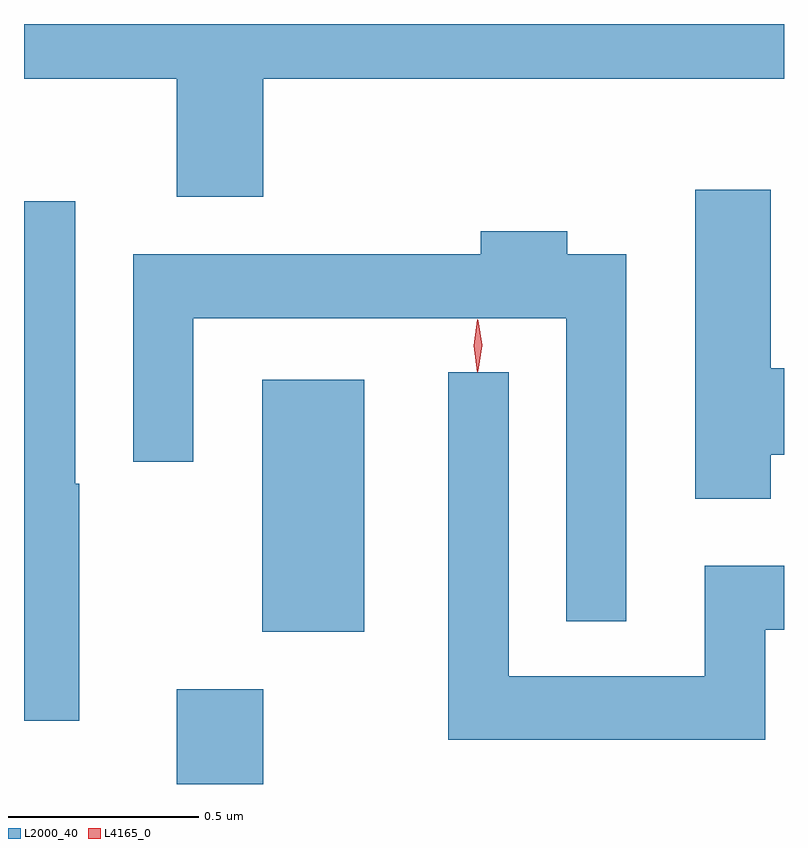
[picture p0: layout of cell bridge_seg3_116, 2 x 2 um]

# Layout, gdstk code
import gdstk
lib = gdstk.Library(unit=1e-6, precision=1e-09)
def R(c, l, rs):  # rectangles x0, y0, x1, y1
    for r in rs: c.add(gdstk.rectangle(r[:2], r[2:], *l))
def P(c, l, *ps):  # polygons
    for p in ps: c.add(gdstk.Polygon(p, *l))
L2000_40 = (2000, 40)
L4165_0 = (4165, 0)

bridge_seg3_116 = lib.new_cell('bridge_seg3_116')
R(bridge_seg3_116, L2000_40, [(1030.151,1248.48,1030.379,1248.729), (1030.376,1248.881,1030.644,1249.544)])
P(bridge_seg3_116, L2000_40, [(1030.379,1250.336),(1031.749,1250.336),(1031.749,1250.48),(1029.749,1250.48),(1029.749,1250.336),(1030.151,1250.336),(1030.151,1250.026),(1030.379,1250.026)],
  [(1031.714,1249.346),(1031.749,1249.346),(1031.749,1249.574),(1031.714,1249.574),(1031.714,1250.044),(1031.516,1250.044),(1031.516,1249.231),(1031.714,1249.231)],
  [(1029.894,1249.27),(1029.884,1249.27),(1029.884,1250.013),(1029.749,1250.013),(1029.749,1248.646),(1029.894,1248.646)],
  [(1031.334,1249.874),(1031.179,1249.874),(1031.179,1249.934),(1030.951,1249.934),(1030.951,1249.874),(1030.036,1249.874),(1030.036,1249.328),(1030.194,1249.328),(1030.194,1249.706),(1031.176,1249.706),(1031.176,1248.908),(1031.334,1248.908)],
  [(1031.699,1248.886),(1031.749,1248.886),(1031.749,1249.054),(1031.541,1249.054),(1031.541,1248.764),(1031.024,1248.764),(1031.024,1249.563),(1030.866,1249.563),(1030.866,1248.596),(1031.699,1248.596)])
P(bridge_seg3_116, L4165_0, [(1030.942,1249.563),(1030.942,1249.564),(1030.932,1249.633),(1030.942,1249.702),(1030.942,1249.703),(1030.943,1249.702),(1030.952,1249.633),(1030.943,1249.564)],
  [(1030.945,1249.567),(1030.944,1249.568),(1030.935,1249.634),(1030.944,1249.7),(1030.945,1249.7),(1030.945,1249.7),(1030.955,1249.634),(1030.945,1249.568)])

lib.write_gds('bridge_seg3_116.gds')
